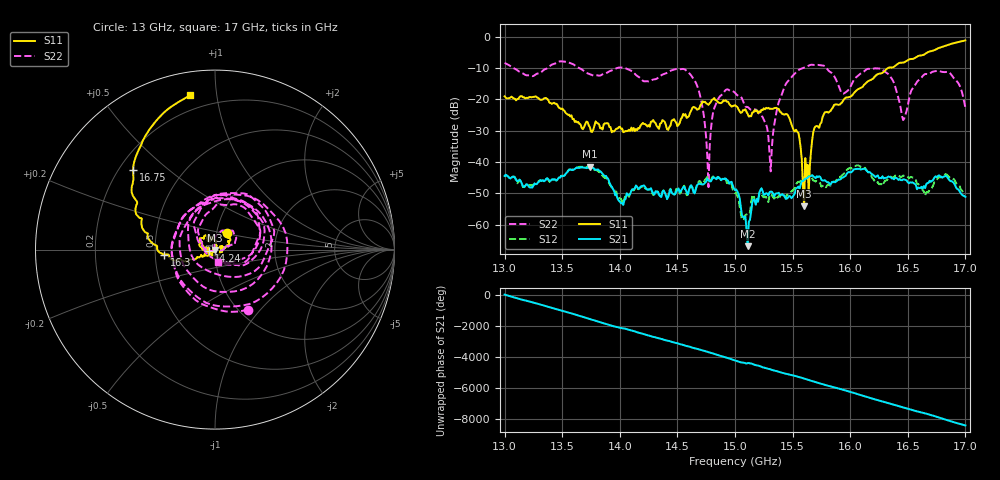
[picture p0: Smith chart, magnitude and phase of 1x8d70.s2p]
!Keysight Technologies,P9374A,MY57211807,A.19.30.04
!Date: Friday, May 08, 2026 15:24:11
!Correction: S11(C  2-Port  )
!S21(C  2-Port  )
!S12(C  2-Port  )
!S22(C  2-Port  )
!S2P File: Measurements: S11, S21, S12, S22:
# Hz S  dB  R 50
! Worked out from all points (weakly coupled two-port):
!   401 points, 13 GHz to 17 GHz, reference 50 ohm
!   highest |S21| = -41.43 dB at 13.74 GHz (marker M1); lowest = -66.9 dB at 15.11 GHz (marker M2)
!   lowest |S11| = -54.2 dB at 15.6 GHz (marker M3), VSWR 1.00, Z = 49.9 - j0.15 ohm
!   |S11| at or under -10 dB: start of sweep to 16.33 GHz
!   |S22| runs from -48.0 to -7.9 dB; largest |S21 - S12| = 0.0016
!   S11 on the Smith chart (normalised r, x): 13 GHz: 1.12, +0.21; 14.24 GHz: 0.93, -0.02; 16.3 GHz: 0.56, -0.03; 16.75 GHz: 0.26, +0.38; 17 GHz: 0.12, +0.85
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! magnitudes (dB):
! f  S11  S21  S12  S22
! 13 GHz  -19.0  -44.4  -44.7  -8.4
! 13.67 GHz  -29.2  -41.7  -41.5  -10.4
! 13.74 GHz  -28.9  -41.4  -41.5  -12.0
! 14.01 GHz  -29.3  -53.1  -51.7  -9.8
! 14.24 GHz  -28.7  -48.8  -48.9  -14.2
! 14.34 GHz  -29.4  -50.4  -50.5  -12.8
! 14.64 GHz  -22.4  -49.6  -49.5  -13.5
! 14.77 GHz  -21.7  -45.9  -45.6  -48.0
! 14.84 GHz  -20.3  -45.5  -45.1  -20.9
! 15 GHz  -21.9  -48.9  -50.0  -17.9
! 15.11 GHz  -24.6  -66.9  -56.6  -22.4
! 15.31 GHz  -23.0  -49.5  -50.2  -43.0
! 15.39 GHz  -24.0  -50.7  -51.1  -20.0
! 15.54 GHz  -30.3  -48.2  -46.5  -11.0
! 15.6 GHz  -54.2  -45.7  -45.1  -9.9
! 15.67 GHz  -32.9  -44.2  -45.3  -9.0
! 15.94 GHz  -20.2  -44.9  -43.9  -18.2
! 16.3 GHz  -10.9  -45.1  -46.2  -11.1
! 16.34 GHz  -9.8  -44.7  -44.9  -12.3
! 16.47 GHz  -8.2  -45.6  -44.4  -26.0
! 16.75 GHz  -3.9  -44.8  -46.0  -10.9
! 17 GHz  -1.2  -51.1  -50.2  -22.6
